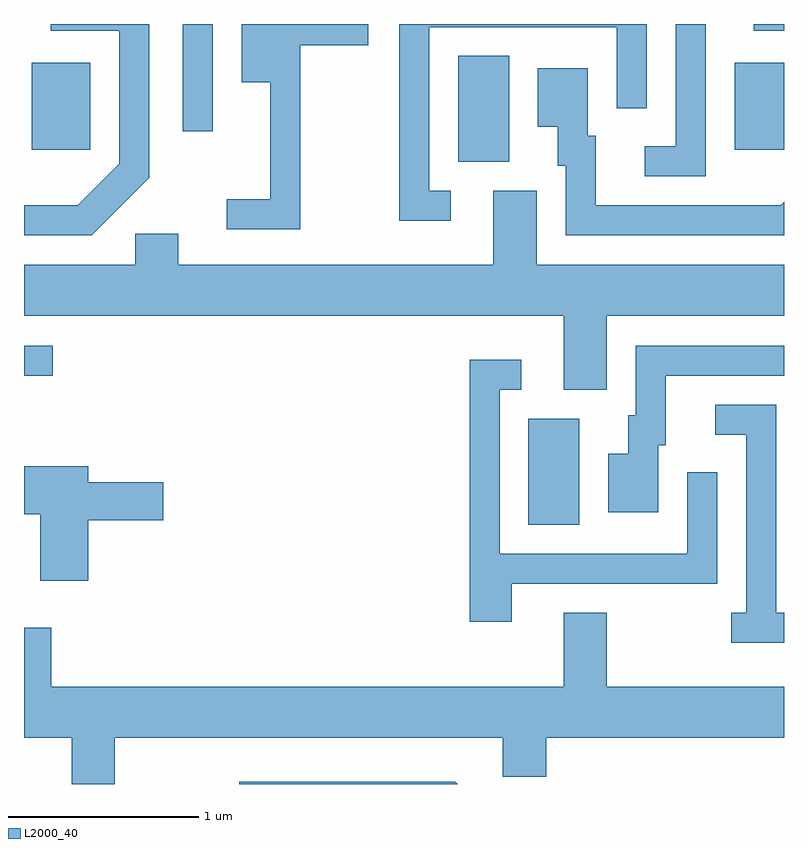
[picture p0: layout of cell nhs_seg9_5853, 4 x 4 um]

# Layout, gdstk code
import gdstk
lib = gdstk.Library(unit=1e-6, precision=1e-09)
def R(c, l, rs):  # rectangles x0, y0, x1, y1
    for r in rs: c.add(gdstk.rectangle(r[:2], r[2:], *l))
def P(c, l, *ps):  # polygons
    for p in ps: c.add(gdstk.Polygon(p, *l))
L2000_40 = (2000, 40)

nhs_seg9_5853 = lib.new_cell('nhs_seg9_5853')
R(nhs_seg9_5853, L2000_40, [(360.266,2021.796,360.534,2022.354), (357.611,2022.581,357.763,2022.739), (359.896,2023.706,360.164,2024.264), (357.651,2023.771,357.959,2024.229), (361.351,2023.771,361.611,2024.229), (358.446,2023.868,358.604,2024.432), (361.453,2024.396,361.611,2024.432)])
P(nhs_seg9_5853, L2000_40, [(358.269,2023.624),(358.269,2024.432),(357.753,2024.432),(357.753,2024.396),(358.111,2024.396),(358.111,2023.697),(357.894,2023.479),(357.611,2023.479),(357.611,2023.321),(357.967,2023.321)],
  [(359.064,2024.321),(359.424,2024.321),(359.424,2024.432),(358.756,2024.432),(358.756,2024.126),(358.906,2024.126),(358.906,2023.509),(358.678,2023.509),(358.678,2023.351),(359.064,2023.351)],
  [(361.199,2024.432),(361.041,2024.432),(361.041,2023.789),(360.878,2023.789),(360.878,2023.631),(361.199,2023.631)],
  [(359.858,2023.554),(359.744,2023.554),(359.744,2024.416),(360.731,2024.416),(360.731,2023.988),(360.889,2023.988),(360.889,2024.432),(359.586,2024.432),(359.586,2023.396),(359.858,2023.396)],
  [(361.611,2023.496),(361.594,2023.479),(360.619,2023.479),(360.619,2023.844),(360.579,2023.844),(360.579,2024.199),(360.316,2024.199),(360.316,2023.891),(360.421,2023.891),(360.421,2023.686),(360.461,2023.686),(360.461,2023.321),(361.611,2023.321)],
  [(360.679,2022.896),(361.611,2022.896),(361.611,2023.164),(360.309,2023.164),(360.309,2023.554),(360.081,2023.554),(360.081,2023.164),(358.424,2023.164),(358.424,2023.329),(358.196,2023.329),(358.196,2023.164),(357.611,2023.164),(357.611,2022.896),(360.451,2022.896),(360.451,2022.506),(360.679,2022.506)],
  [(360.949,2022.216),(360.989,2022.216),(360.989,2022.581),(361.611,2022.581),(361.611,2022.739),(360.831,2022.739),(360.831,2022.374),(360.791,2022.374),(360.791,2022.169),(360.686,2022.169),(360.686,2021.861),(360.949,2021.861)],
  [(360.179,2021.486),(361.259,2021.486),(361.259,2022.073),(361.101,2022.073),(361.101,2021.644),(360.114,2021.644),(360.114,2022.506),(360.228,2022.506),(360.228,2022.664),(359.956,2022.664),(359.956,2021.286),(360.179,2021.286)],
  [(361.611,2021.334),(361.569,2021.334),(361.569,2022.429),(361.248,2022.429),(361.248,2022.271),(361.411,2022.271),(361.411,2021.334),(361.333,2021.334),(361.333,2021.176),(361.611,2021.176)],
  [(357.949,2021.821),(358.344,2021.821),(358.344,2022.019),(357.949,2022.019),(357.949,2022.104),(357.611,2022.104),(357.611,2021.851),(357.696,2021.851),(357.696,2021.501),(357.949,2021.501)],
  [(358.089,2020.676),(360.131,2020.676),(360.131,2020.471),(360.359,2020.471),(360.359,2020.676),(361.611,2020.676),(361.611,2020.944),(360.679,2020.944),(360.679,2021.334),(360.451,2021.334),(360.451,2020.944),(357.754,2020.944),(357.754,2021.254),(357.611,2021.254),(357.611,2020.676),(357.861,2020.676),(357.861,2020.432),(358.089,2020.432)],
  [(359.882,2020.444),(358.743,2020.444),(358.743,2020.432),(359.894,2020.432)])

lib.write_gds('nhs_seg9_5853.gds')
